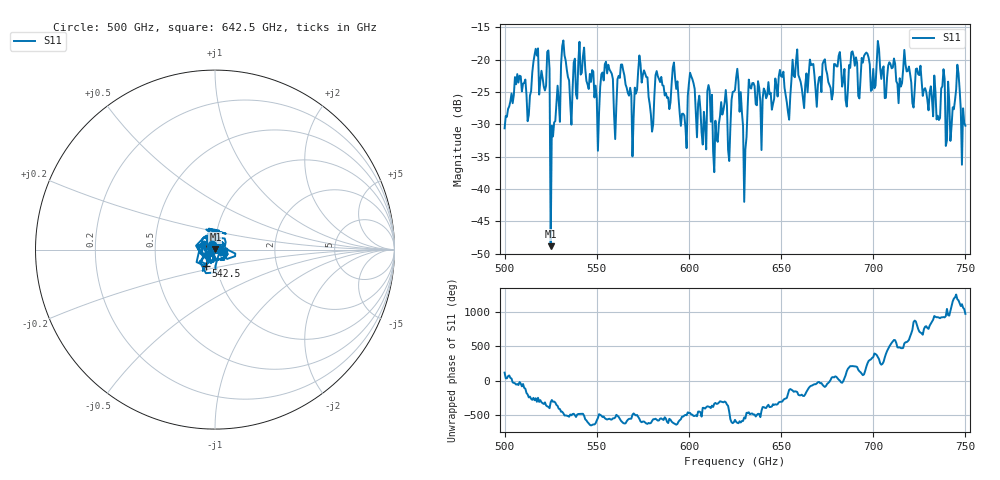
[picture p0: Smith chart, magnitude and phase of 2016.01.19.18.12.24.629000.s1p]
!Created with skrf (http://scikit-rf.org).
# GHz S RI R 50.0
!freq ReS11 ImS11
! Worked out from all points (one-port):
!   401 points, 500 GHz to 750 GHz, reference 50 ohm
!   lowest |S11| = -48.8 dB at 525 GHz (marker M1), VSWR 1.01, Z = 50.2 + j0.277 ohm
!   |S11| at or under -10 dB: start of sweep to end of sweep
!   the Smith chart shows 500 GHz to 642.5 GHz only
!   S11 on the Smith chart (normalised r, x): 500 GHz: 0.97, +0.05; 542.5 GHz: 0.89, -0.17; 642.5 GHz: 1.11, -0.02
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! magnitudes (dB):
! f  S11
! 500 GHz  -30.6
! 506.9 GHz  -22.2
! 513.1 GHz  -28.5
! 516.9 GHz  -18.3
! 523.1 GHz  -18.8
! 525 GHz  -48.8
! 526.2 GHz  -31.9
! 531.2 GHz  -17.9
! 542.5 GHz  -19.5
! 550 GHz  -26.0
! 562.5 GHz  -22.8
! 568.8 GHz  -25.5
! 573.8 GHz  -20.7
! 579.4 GHz  -28.5
! 593.8 GHz  -23.4
! 597.5 GHz  -28.6
! 601.9 GHz  -23.0
! 608.1 GHz  -28.1
! 611.2 GHz  -24.7
! 614.4 GHz  -29.4
! 625 GHz  -24.7
! 630 GHz  -42.0
! 633.8 GHz  -24.5
! 642.5 GHz  -25.5
! 656.2 GHz  -20.0
! 687.5 GHz  -21.3
! 718.8 GHz  -21.7
! 750 GHz  -30.2
